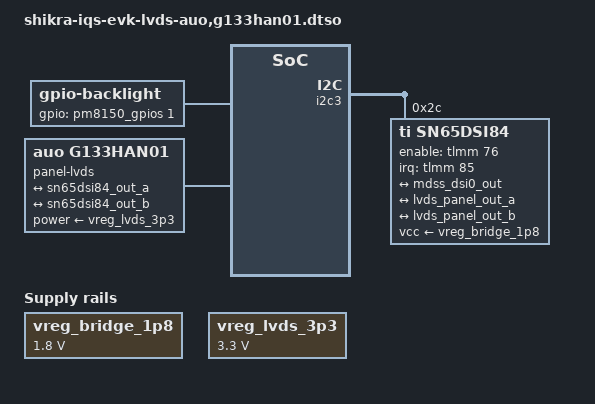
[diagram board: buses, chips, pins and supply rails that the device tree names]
// SPDX-License-Identifier: BSD-3-Clause
/*
 * Copyright (c) Qualcomm Technologies, Inc. and/or its subsidiaries.
 */

/dts-v1/;
/plugin/;

#include <dt-bindings/gpio/gpio.h>
#include <dt-bindings/interrupt-controller/irq.h>

&{/} {
	backlight: backlight {
		compatible = "gpio-backlight";
		gpios = <&pm8150_gpios 1 GPIO_ACTIVE_HIGH>;
		default-on;
	};

	panel-lvds {
		compatible = "auo,g133han01";
		power-supply = <&vreg_lvds_3p3>;

		ports {
			#address-cells = <1>;
			#size-cells = <0>;

			port@0 {
				reg = <0>;
				dual-lvds-odd-pixels;

				lvds_panel_out_a: endpoint {
					remote-endpoint = <&sn65dsi84_out_a>;
				};
			};

			port@1 {
				reg = <1>;
				dual-lvds-even-pixels;

				lvds_panel_out_b: endpoint {
					remote-endpoint = <&sn65dsi84_out_b>;
				};
			};
		};
	};

	vreg_bridge_1p8: regulator-bridge-1p8 {
		compatible = "regulator-fixed";
		regulator-name = "vreg_bridge_1p8";
		regulator-min-microvolt = <1800000>;
		regulator-max-microvolt = <1800000>;
        };

	vreg_lvds_3p3: regulator-lvds-3p3 {
		compatible = "regulator-fixed";
		regulator-name = "vreg_lvds_3p3";
		regulator-min-microvolt = <3300000>;
		regulator-max-microvolt = <3300000>;
	};
};

&hdmi_connector {
	status = "disabled";
};

&i2c3 {
	#address-cells = <1>;
	#size-cells = <0>;

	sn65dsi84: bridge@2c {
		compatible = "ti,sn65dsi84";
		reg = <0x2c>;
		enable-gpios = <&tlmm 76 GPIO_ACTIVE_HIGH>;
		interrupts-extended = <&tlmm 85 IRQ_TYPE_EDGE_FALLING>;
		vcc-supply = <&vreg_bridge_1p8>;
		ti,ref-clk-src = <1>;

		pinctrl-0 = <&bridge_irq_pin &bridge_rst_pin>;
		pinctrl-names = "default";

		ports {
			#address-cells = <1>;
			#size-cells = <0>;

			port@0 {
				reg = <0>;

				sn65dsi84_in: endpoint {
					remote-endpoint = <&mdss_dsi0_out>;
					data-lanes = <1 2 3 4>;
				};
			};

			port@2 {
				reg = <2>;

				sn65dsi84_out_a: endpoint {
					remote-endpoint = <&lvds_panel_out_a>;
					ti,lvds-vod-swing-data-microvolt = <150000 261000>;
					ti,lvds-vod-swing-clock-microvolt = <117000 204000>;
				};
			};

			port@3 {
				reg = <3>;

				sn65dsi84_out_b: endpoint {
					remote-endpoint = <&lvds_panel_out_b>;
					ti,lvds-vod-swing-data-microvolt = <150000 261000>;
					ti,lvds-vod-swing-clock-microvolt = <117000 204000>;
				};
			};
		};
	};
};

&lt9611uxd {
	status = "disabled";
};

&mdss_dsi0_out {
	remote-endpoint = <&sn65dsi84_in>;
};
